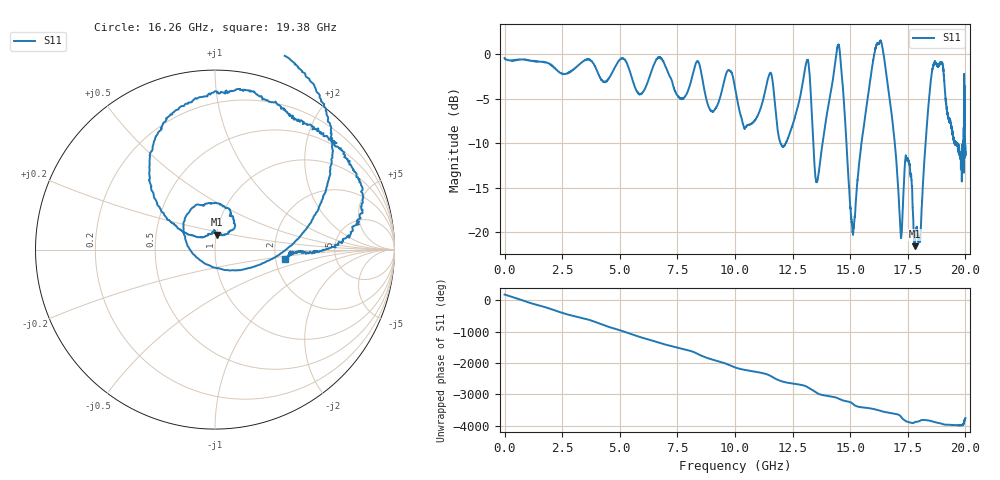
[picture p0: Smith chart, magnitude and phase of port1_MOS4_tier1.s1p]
! Created with skrf 1.8.0 (http://scikit-rf.org).
# GHz S RI R 50.0
!freq ReS11 ImS11
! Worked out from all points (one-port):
!   10000 points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, 3 MHz to 20 GHz, reference 50 ohm
!   lowest |S11| = -21.5 dB at 17.81 GHz (marker M1), VSWR 1.18, Z = 50.5 + j8.43 ohm
!   |S11| at or under -10 dB: 13.4 GHz to 13.8 GHz (402 MHz wide, 2.96 % of centre); 14.84 GHz to 15.49 GHz (649.4 MHz wide, 4.28 % of centre); 16.93 GHz to 18.27 GHz (1.337 GHz wide, 7.59 % of centre) (the widest 3 of 18)
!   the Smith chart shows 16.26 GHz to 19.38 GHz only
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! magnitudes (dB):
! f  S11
! 3 MHz  -0.5
! 2.503 GHz  -2.2
! 5.003 GHz  -0.6
! 5.883 GHz  -4.5
! 6.763 GHz  -0.5
! 7.503 GHz  -4.6
! 8.367 GHz  -0.8
! 8.979 GHz  -6.4
! 10 GHz  -3.8
! 10.48 GHz  -8.2
! 11.53 GHz  -2.1
! 12 GHz  -10.1
! 12.5 GHz  -7.9
! 13.15 GHz  -0.7
! 13.57 GHz  -14.2
! 14.49 GHz  1.0
! 15 GHz  -17.1
! 15.16 GHz  -19.2
! 16.24 GHz  1.2
! 16.77 GHz  -6.2
! 17.19 GHz  -20.0
! 17.5 GHz  -11.7
! 17.81 GHz  -21.5
! 18.04 GHz  -20.7
! 18.64 GHz  -1.1
! 18.98 GHz  -1.0
! 19.78 GHz  -11.4
! 20 GHz  -11.0
